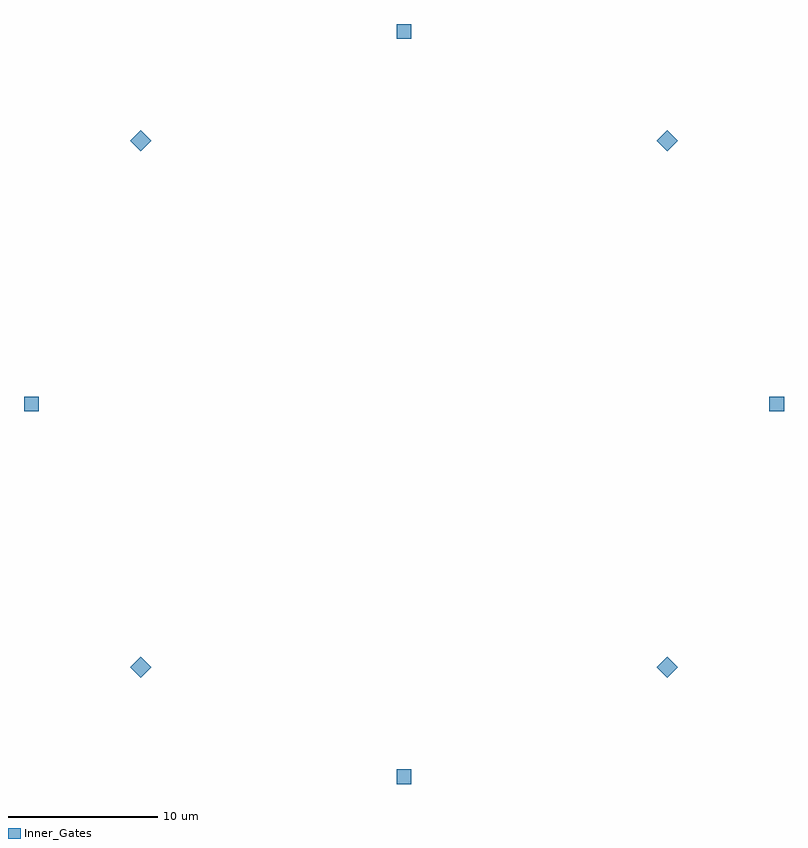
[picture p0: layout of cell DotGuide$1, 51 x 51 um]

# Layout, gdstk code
import gdstk
lib = gdstk.Library(unit=1e-6, precision=1e-09)
def R(c, l, rs):  # rectangles x0, y0, x1, y1
    for r in rs: c.add(gdstk.rectangle(r[:2], r[2:], *l))
def P(c, l, *ps):  # polygons
    for p in ps: c.add(gdstk.Polygon(p, *l))
Inner_Gates = (5, 0)

dotguide_1 = lib.new_cell('DotGuide$1')
R(dotguide_1, Inner_Gates, [(-0.5,-25.5,0.5,-24.5), (-25.5,-0.5,-24.5,0.5), (24.5,-0.5,25.5,0.5), (-0.5,24.5,0.5,25.5)])
P(dotguide_1, Inner_Gates, [(-17.678,16.971),(-18.385,17.678),(-17.678,18.385),(-16.971,17.678)],
  [(-17.678,-18.385),(-18.385,-17.678),(-17.678,-16.971),(-16.971,-17.678)],
  [(17.678,-18.385),(16.971,-17.678),(17.678,-16.971),(18.385,-17.678)],
  [(17.678,16.971),(16.971,17.678),(17.678,18.385),(18.385,17.678)])

lib.write_gds('DotGuide_1.gds')
